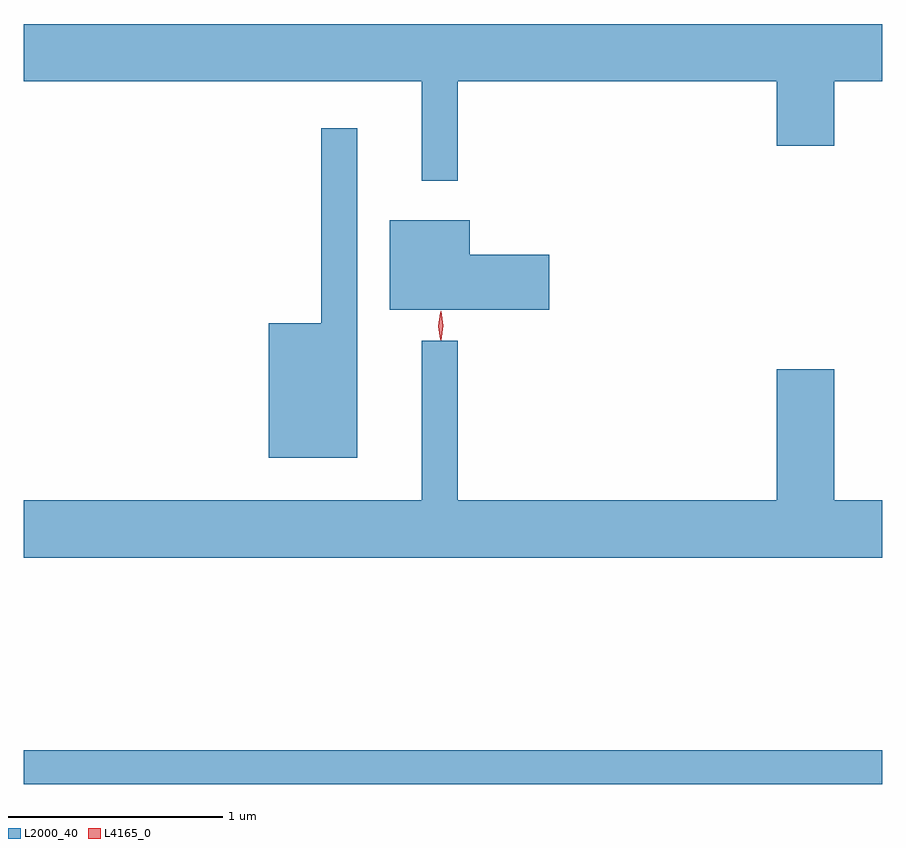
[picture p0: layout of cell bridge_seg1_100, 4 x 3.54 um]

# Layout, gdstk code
import gdstk
lib = gdstk.Library(unit=1e-6, precision=1e-09)
def R(c, l, rs):  # rectangles x0, y0, x1, y1
    for r in rs: c.add(gdstk.rectangle(r[:2], r[2:], *l))
def P(c, l, *ps):  # polygons
    for p in ps: c.add(gdstk.Polygon(p, *l))
L2000_40 = (2000, 40)
L4165_0 = (4165, 0)

bridge_seg1_100 = lib.new_cell('bridge_seg1_100')
R(bridge_seg1_100, L2000_40, [(1190.586,869.661,1194.586,869.819)])
P(bridge_seg1_100, L2000_40, [(1192.609,872.936),(1194.096,872.936),(1194.096,872.636),(1194.364,872.636),(1194.364,872.936),(1194.586,872.936),(1194.586,873.204),(1190.586,873.204),(1190.586,872.936),(1192.441,872.936),(1192.441,872.473),(1192.609,872.473)],
  [(1192.139,872.718),(1191.971,872.718),(1191.971,871.809),(1191.726,871.809),(1191.726,871.181),(1192.139,871.181)],
  [(1193.034,872.129),(1192.664,872.129),(1192.664,872.289),(1192.291,872.289),(1192.291,871.871),(1193.034,871.871)],
  [(1194.586,870.984),(1194.364,870.984),(1194.364,871.594),(1194.096,871.594),(1194.096,870.984),(1192.609,870.984),(1192.609,871.728),(1192.441,871.728),(1192.441,870.984),(1190.586,870.984),(1190.586,870.716),(1194.586,870.716)])
P(bridge_seg1_100, L4165_0, [(1192.53,871.73),(1192.53,871.73),(1192.52,871.798),(1192.53,871.865),(1192.53,871.866),(1192.531,871.865),(1192.54,871.798),(1192.531,871.73)],
  [(1192.528,871.733),(1192.527,871.734),(1192.518,871.796),(1192.527,871.859),(1192.528,871.86),(1192.528,871.859),(1192.538,871.796),(1192.528,871.734)])

lib.write_gds('bridge_seg1_100.gds')
